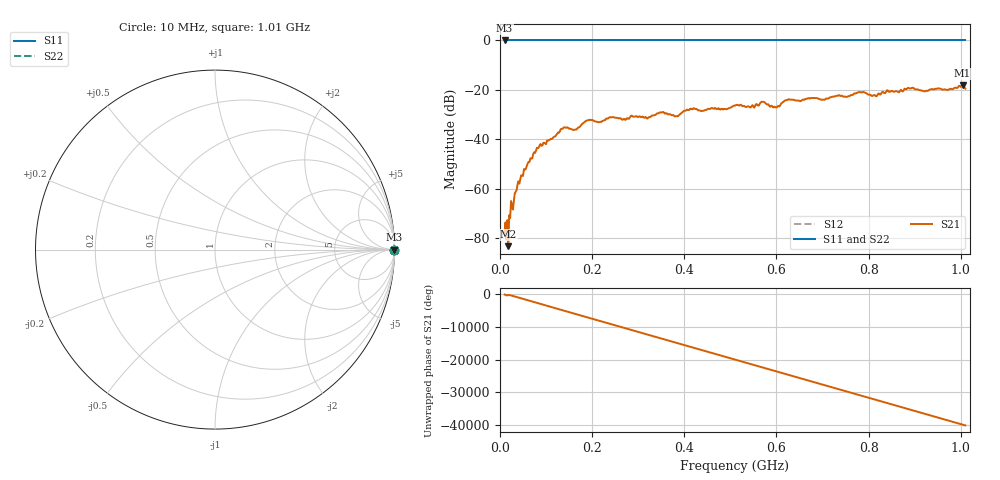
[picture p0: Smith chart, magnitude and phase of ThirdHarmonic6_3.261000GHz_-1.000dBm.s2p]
! 8/17/2025 10:03:53 AM
! C:\ANRITSUVNA\TEMP\TEMP.S2P
! CHANNEL.1
! TR.MEASUREMENT
! RAW.DATA
! RF.CORRECTION.OFF
! AVERAGING.OFF
! IF.BANDWIDTH: 5KHZ
! SWEEPTYPE:  FREQ.SWEEP(Linear)
! Reference Plane Port Info
! PORT:  PORT1  PORT2
! DISTANCE:  0  m  0  m
! TIME:  0  s  0  s
! PHASE.OFFSET:  0  deg.  0  deg.
! LOSS:  0  dB  0  dB
! REF.LOSS:  0  dB  0  dB
! REF.FREQ:  0  Hz  0  Hz
! Power Info
! POWER:  -20  dBm  -20  dBm
! EFF.POWER:  -20  dBm  -20  dBm
! SOURCE.ATTEN:  0  dB  0  dB
! TEST.ATTEN:  0  dB  0  dB
# GHZ S RI R 50.0
! FREQ.GHZ  S11RE  S11IM  S21RE  S21IM  S12RE  S12IM  S22RE  S22IM
!; PortSelection: Port_12
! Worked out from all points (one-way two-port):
!   501 points, 10 MHz to 1.01 GHz, reference 50 ohm
!   highest |S21| = -18.17 dB at 1.004 GHz (marker M1); lowest = -83.3 dB at 18 MHz (marker M2)
!   lowest |S11| = 0.0 dB at 10 MHz (marker M3)
!   |S11| at or under -10 dB: nowhere
!   |S22| runs from 0.0 to 0.0 dB; largest |S21 - S12| = 1.1
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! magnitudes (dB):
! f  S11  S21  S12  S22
! 10 MHz  0.0  -77.8  0.0  0.0
! 18 MHz  0.0  -83.3  0.0  0.0
! 24 MHz  0.0  -65.0  0.0  0.0
! 36 MHz  0.0  -60.6  0.0  0.0
! 76 MHz  0.0  -45.5  0.0  0.0
! 136 MHz  0.0  -35.7  0.0  0.0
! 162 MHz  0.0  -36.2  0.0  0.0
! 178 MHz  0.0  -33.9  0.0  0.0
! 344 MHz  0.0  -29.5  0.0  0.0
! 384 MHz  0.0  -30.6  0.0  0.0
! 416 MHz  0.0  -27.9  0.0  0.0
! 510 MHz  0.0  -26.4  0.0  0.0
! 548 MHz  0.0  -26.2  0.0  0.0
! 570 MHz  0.0  -24.8  0.0  0.0
! 598 MHz  0.0  -27.1  0.0  0.0
! 622 MHz  0.0  -24.1  0.0  0.0
! 678 MHz  0.0  -23.3  0.0  0.0
! 784 MHz  0.0  -21.1  0.0  0.0
! 814 MHz  0.0  -22.2  0.0  0.0
! 844 MHz  0.0  -20.8  0.0  0.0
! 1.004 GHz  0.0  -18.2  0.0  0.0
! 1.01 GHz  0.0  -19.5  0.0  0.0
